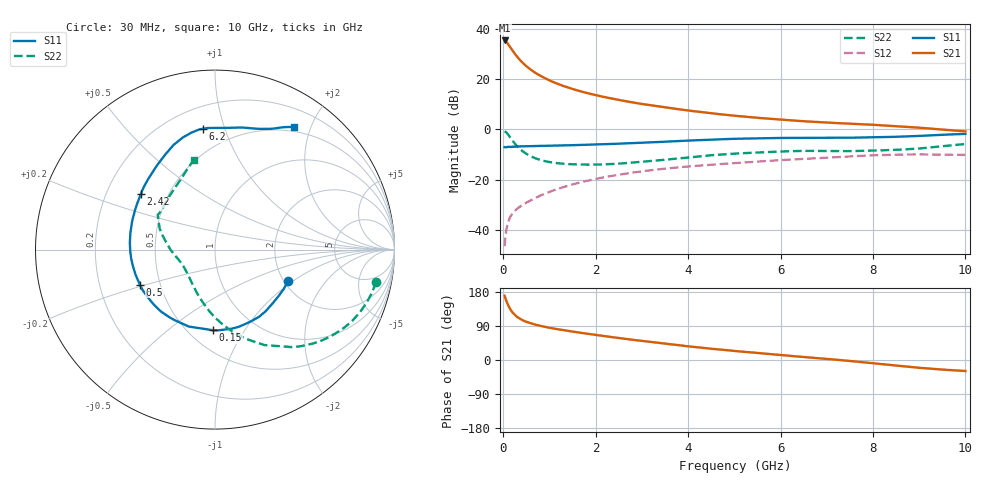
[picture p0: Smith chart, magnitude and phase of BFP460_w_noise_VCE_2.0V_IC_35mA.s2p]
! (c) 2016  Infineon Technologies AG, Munich
! Infineon Technologies  Discrete & RF Semiconductors
! BFP460
! VCE =  2.0 V,  IC =  35 mA
! Common Emitter S-Parameters:  Jan 2016
# GHz  S  MA  R  50
!  f  S11  S21  S12  S22
! GHz  MAG  ANG  MAG  ANG  MAG  ANG  MAG  ANG
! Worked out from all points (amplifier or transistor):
!   229 points, 30 MHz to 10 GHz, reference 50 ohm
!   highest |S21| = 35.5 dB at 30 MHz (marker M1)
!   |S21| within 3 dB of that: start of sweep to 163.1 MHz
!   unconditionally stable (mu >= 1): 1.339 GHz to 7.785 GHz
!   at 280 MHz: K = 0.57, MSG = 30.7 dB, |S12| = -32.0 dB
!   at 1.78 GHz: K = 1.02, MAG = 16.7 dB, |S12| = -20.6 dB
!   at 10 GHz: K = 0.98, MSG = 4.7 dB, |S12| = -10.2 dB
!   lowest NFmin = 1.54 dB at 100 MHz
!   S11 on the Smith chart (normalised r, x): 30 MHz: 2.12, -0.91; 150 MHz: 0.65, -0.73; 500 MHz: 0.38, -0.19; 2.42 GHz: 0.35, +0.29; 6.2 GHz: 0.34, +0.84; 10 GHz: 0.43, +1.76
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0.03  0.4432 -22.9  59.36 169.5  0.0047 82.8  0.9152 -11.4
0.05  0.4387 -36.5  57.41 161.6  0.0074 77.6  0.8944 -19.5
0.07  0.4442 -50.5  55.4 154.9  0.0103 74.1  0.8625 -27.2
0.09  0.447 -62.9  52.59 149.0  0.0126 70.5  0.8219 -34.2
0.12  0.4503 -78.3  48.14 141.0  0.0155 66.0  0.7575 -43.6
0.15  0.4492 -91.5  43.76 134.3  0.018 62.5  0.6933 -51.6
0.2  0.4529 -108.8  37.45 125.5  0.0212 59.2  0.5991 -62.6
0.24  0.4525 -119.1  33.26 120.3  0.0233 57.7  0.5375 -69.4
0.3  0.4581 -131.3  28.16 113.6  0.0262 56.8  0.4635 -78.5
0.4  0.4593 -145.4  22.2 106.0  0.0304 56.9  0.3796 -89.8
0.5  0.4619 -155.0  18.21 100.7  0.0346 58.0  0.3257 -98.5
0.7  0.4667 -168.2  13.32 93.1  0.0432 60.0  0.2643 -111.9
0.9  0.4718 -177.3  10.49 87.5  0.0522 61.0  0.2332 -121.8
1.22  0.4781 171.7  7.825 80.4  0.0669 61.3  0.2099 -133.6
1.7  0.4901 159.0  5.658 71.4  0.0892 59.4  0.1991 -145.9
2.42  0.5161 143.4  3.998 59.3  0.1218 54.3  0.2057 -161.1
3.4  0.563 126.3  2.833 44.7  0.1614 45.6  0.2437 -178.6
5.1  0.6526 105.1  1.839 22.9  0.216 32.1  0.3328 158.2
6.2  0.6763 95.9  1.523 11.1  0.2495 23.7  0.367 150.0
6.8  0.6775 90.7  1.402 5.0  0.2666 19.4  0.3716 147.3
8.4  0.7088 72.1  1.176 -13.5  0.3127 4.8  0.3887 131.7
10  0.8144 57.1  0.913 -29.0  0.3102 -7.9  0.5121 103.5
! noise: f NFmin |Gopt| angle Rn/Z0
0.1  1.54  0.2  -179  0.12
0.45  1.56  0.23  -168  0.12
0.9  1.59  0.2  -163  0.13
1.9  1.71  0.31  -143  0.14
3.5  1.58  0.54  -119  0.2
